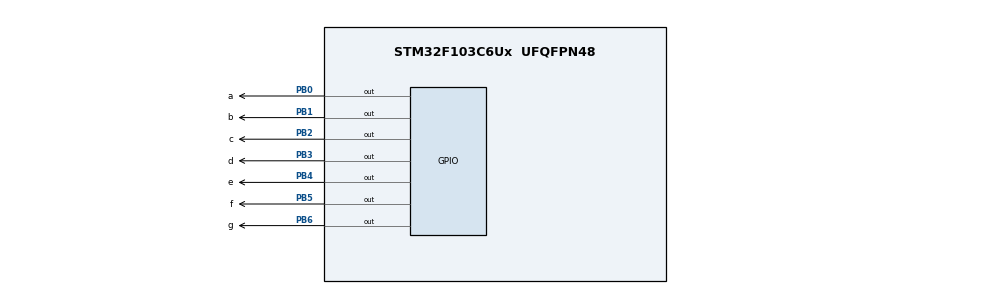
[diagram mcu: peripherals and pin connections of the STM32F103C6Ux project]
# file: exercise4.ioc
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Mcu.Family=STM32F1
Mcu.Name=STM32F103C6Ux
Mcu.Package=UFQFPN48
NVIC.PriorityGroup=NVIC_PRIORITYGROUP_4
PB0.GPIO_Label=a
PB0.Signal=GPIO_Output
PB1.GPIO_Label=b
PB1.Signal=GPIO_Output
PB2.GPIO_Label=c
PB2.Signal=GPIO_Output
PB3.GPIO_Label=d
PB3.Signal=GPIO_Output
PB4.GPIO_Label=e
PB4.Signal=GPIO_Output
PB5.GPIO_Label=f
PB5.Signal=GPIO_Output
PB6.GPIO_Label=g
PB6.Signal=GPIO_Output
ProjectManager.HeapSize=0x200
ProjectManager.StackSize=0x400
ProjectManager.TargetToolchain=STM32CubeIDE
RCC.APB1Freq_Value=8000000
RCC.APB2Freq_Value=8000000
VP_SYS_VS_ND.Mode=No_Debug
board=custom

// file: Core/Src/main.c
/* USER CODE BEGIN Header */
/**
  ******************************************************************************
  * @file           : main.c
  * @brief          : Main program body
  ******************************************************************************
  * @attention
  *
  * <h2><center>&copy; Copyright (c) 2023 STMicroelectronics.
  * All rights reserved.</center></h2>
  *
  * This software component is licensed by ST under BSD 3-Clause license,
  * the "License"; You may not use this file except in compliance with the
  * License. You may obtain a copy of the License at:
  *                        opensource.org/licenses/BSD-3-Clause
  *
  ******************************************************************************
  */
/* USER CODE END Header */
#include "main.h"

void SystemClock_Config(void);
static void MX_GPIO_Init(void);

int main(void)
{

  /* MCU Configuration--------------------------------------------------------*/

  /* Reset of all peripherals, Initializes the Flash interface and the Systick. */
  HAL_Init();

  /* Configure the system clock */
  SystemClock_Config();

  /* Initialize all configured peripherals */
  MX_GPIO_Init();

  /* Infinite loop */
  /* USER CODE BEGIN WHILE */
  int num = 0;
  while (1)
  {
	  if( num >= 10) num = 0;
	  display7SEG(num++);
	  HAL_Delay(1000) ;

  }
}

void SystemClock_Config(void)
{
  RCC_OscInitTypeDef RCC_OscInitStruct = {0};
  RCC_ClkInitTypeDef RCC_ClkInitStruct = {0};

  /** Initializes the RCC Oscillators according to the specified parameters
  * in the RCC_OscInitTypeDef structure.
  */
  RCC_OscInitStruct.OscillatorType = RCC_OSCILLATORTYPE_HSI;
  RCC_OscInitStruct.HSIState = RCC_HSI_ON;
  RCC_OscInitStruct.HSICalibrationValue = RCC_HSICALIBRATION_DEFAULT;
  RCC_OscInitStruct.PLL.PLLState = RCC_PLL_NONE;
  if (HAL_RCC_OscConfig(&RCC_OscInitStruct) != HAL_OK)
  {
    Error_Handler();
  }
  /** Initializes the CPU, AHB and APB buses clocks
  */
  RCC_ClkInitStruct.ClockType = RCC_CLOCKTYPE_HCLK|RCC_CLOCKTYPE_SYSCLK
                              |RCC_CLOCKTYPE_PCLK1|RCC_CLOCKTYPE_PCLK2;
  RCC_ClkInitStruct.SYSCLKSource = RCC_SYSCLKSOURCE_HSI;
  RCC_ClkInitStruct.AHBCLKDivider = RCC_SYSCLK_DIV1;
  RCC_ClkInitStruct.APB1CLKDivider = RCC_HCLK_DIV1;
  RCC_ClkInitStruct.APB2CLKDivider = RCC_HCLK_DIV1;

  if (HAL_RCC_ClockConfig(&RCC_ClkInitStruct, FLASH_LATENCY_0) != HAL_OK)
  {
    Error_Handler();
  }
}

static void MX_GPIO_Init(void)
{
  GPIO_InitTypeDef GPIO_InitStruct = {0};

  /* GPIO Ports Clock Enable */
  __HAL_RCC_GPIOB_CLK_ENABLE();

  /*Configure GPIO pin Output Level */
  HAL_GPIO_WritePin(GPIOB, a_Pin|b_Pin|c_Pin|d_Pin
                          |e_Pin|f_Pin|g_Pin, GPIO_PIN_RESET);

  /*Configure GPIO pins : a_Pin b_Pin c_Pin d_Pin
                           e_Pin f_Pin g_Pin */
  GPIO_InitStruct.Pin = a_Pin|b_Pin|c_Pin|d_Pin
                          |e_Pin|f_Pin|g_Pin;
  GPIO_InitStruct.Mode = GPIO_MODE_OUTPUT_PP;
  GPIO_InitStruct.Pull = GPIO_NOPULL;
  GPIO_InitStruct.Speed = GPIO_SPEED_FREQ_LOW;
  HAL_GPIO_Init(GPIOB, &GPIO_InitStruct);

}

/* USER CODE BEGIN 4 */
void display7SEG(int num)
{
    // Define the LED segments for each digit (0-9)
    const int segments[10] = {
        0b00111111, // 0
        0b00000110, // 1
        0b01011011, // 2
        0b01001111, // 3
        0b01100110, // 4
        0b01101101, // 5
        0b01111101, // 6
        0b00000111, // 7
        0b01111111, // 8
        0b01101111  // 9
    };

    // Display the segments for the given digit
    uint8_t displaySegments = segments[num];

    // Output the segments to the 7-segment display
    HAL_GPIO_WritePin(GPIOB, GPIO_PIN_0, (displaySegments & 0x01) ? GPIO_PIN_RESET : GPIO_PIN_SET);
    HAL_GPIO_WritePin(GPIOB, GPIO_PIN_1, ((displaySegments >> 1) & 0x01) ? GPIO_PIN_RESET : GPIO_PIN_SET);
    HAL_GPIO_WritePin(GPIOB, GPIO_PIN_2, ((displaySegments >> 2) & 0x01) ? GPIO_PIN_RESET : GPIO_PIN_SET);
    HAL_GPIO_WritePin(GPIOB, GPIO_PIN_3, ((displaySegments >> 3) & 0x01) ? GPIO_PIN_RESET : GPIO_PIN_SET);
    HAL_GPIO_WritePin(GPIOB, GPIO_PIN_4, ((displaySegments >> 4) & 0x01) ? GPIO_PIN_RESET : GPIO_PIN_SET);
    HAL_GPIO_WritePin(GPIOB, GPIO_PIN_5, ((displaySegments >> 5) & 0x01) ? GPIO_PIN_RESET : GPIO_PIN_SET);
    HAL_GPIO_WritePin(GPIOB, GPIO_PIN_6, ((displaySegments >> 6) & 0x01) ? GPIO_PIN_RESET : GPIO_PIN_SET);
}

/* USER CODE END 4 */

void Error_Handler(void)
{
  __disable_irq();
  while (1)
  {
  }
}

/************************ (C) COPYRIGHT STMicroelectronics *****END OF FILE****/
